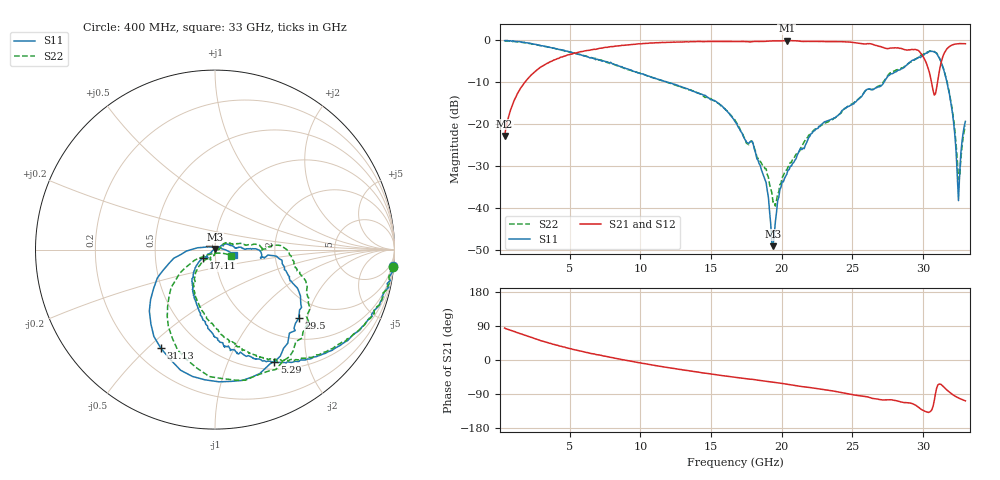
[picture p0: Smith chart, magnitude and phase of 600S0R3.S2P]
!  American Technical Ceramics  Date:  4/26/2005
!  One Norden Lane
!  Huntington Station,  NY.  11746-2102
!  Tel:  (631) 622-4700  Fax:  (631) 622-4748
!  Part Number  600S0R3  Mounting Orientation: Horizontal
!  Description: Ultra Low ESR Microwave capacitors
!  Application: Coupling, Bypass, Tuning, DC Block
!  Filters, Matching
# GHZ S DB R 50
! Freq  |S11|  S11 Ph  |S21|  S21 Ph  |S12|  S12 Ph  |S22|  S22 Ph
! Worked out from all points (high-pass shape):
!   401 points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, 400 MHz to 33 GHz, reference 50 ohm
!   highest |S21| = -0.06 dB at 20.37 GHz (marker M1); lowest = -22.8 dB at 400 MHz (marker M2)
!   |S21| within 3 dB of the highest: 5.317 GHz to 29.84 GHz (24.52 GHz wide, 140 % of centre); 31.5 GHz to end of sweep
!   lowest |S11| = -49.2 dB at 19.39 GHz (marker M3), VSWR 1.01, Z = 49.9 + j0.33 ohm
!   |S11| at or under -10 dB: 11.88 GHz to 27.24 GHz (15.36 GHz wide, 78.5 % of centre); 31.7 GHz to end of sweep
!   |S22| runs from -39.6 to 0.0 dB; largest |S21 - S12| = 0.016
!   S11 on the Smith chart (normalised r, x): 400 MHz: 1, -22; 5.29 GHz: 0.59, -1.49; 17.11 GHz: 0.87, -0.08; 29.5 GHz: 1.48, -1.77; 31.13 GHz: 0.30, -0.55; 33 GHz: 1.23, -0.07
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0.4  -0.05 -5.2  -22.84 84.3  -22.83 84.2  -0.03 -5.7
1.134  -0.23 -13.9  -13.94 74.7  -13.96 73.6  -0.27 -16.8
2.112  -0.67 -27.5  -8.90 62.1  -8.93 61.1  -0.71 -28.6
5.29  -2.98 -62.3  -3.08 27.6  -3.03 28.2  -2.96 -60.9
5.861  -3.54 -67.4  -2.67 22.9  -2.62 23.2  -3.49 -65.3
11.321  -9.36 -106.2  -0.53 -16.2  -0.50 -16.2  -9.37 -103.0
16.7  -19.40 -142.9  -0.27 -45.8  -0.28 -45.7  -19.05 -135.0
17.108  -21.76 -144.0  -0.26 -47.6  -0.28 -47.5  -21.69 -134.3
17.923  -24.12 -140.4  -0.30 -51.0  -0.32 -50.7  -24.29 -117.9
18.738  -32.54 -143.3  -0.23 -55.1  -0.21 -54.8  -29.96 -96.1
19.39  -49.20 107.3  -0.13 -58.5  -0.11 -58.2  -38.66 -70.0
19.879  -35.64 31.1  -0.11 -61.0  -0.09 -60.7  -34.46 2.1
20.368  -31.96 25.5  -0.06 -63.9  -0.04 -63.5  -30.95 14.7
22.161  -22.19 21.5  -0.21 -73.5  -0.18 -73.3  -21.91 28.2
27.621  -8.34 -11.9  -1.90 -104.9  -1.89 -104.7  -7.94 -0.1
29.496  -4.39 -39.4  -2.20 -119.6  -2.13 -119.9  -4.46 -29.7
30.148  -3.15 -58.5  -4.75 -135.6  -4.82 -135.3  -3.32 -48.6
30.8  -2.76 -94.4  -13.07 -106.7  -12.83 -106.3  -2.66 -81.1
31.126  -4.05 -118.7  -7.99 -63.6  -7.91 -64.4  -3.99 -104.6
31.941  -14.26 -171.6  -1.31 -87.0  -1.30 -87.1  -14.02 -148.3
32.511  -38.31 68.6  -0.80 -100.2  -0.79 -100.4  -33.24 -102.5
33  -19.37 -15.6  -0.79 -107.8  -0.79 -107.9  -20.39 -21.6
